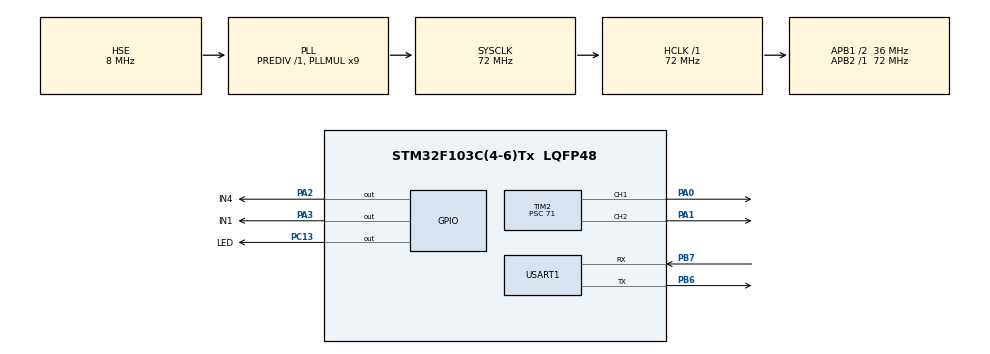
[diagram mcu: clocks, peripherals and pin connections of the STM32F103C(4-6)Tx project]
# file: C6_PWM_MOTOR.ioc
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Mcu.Family=STM32F1
Mcu.Name=STM32F103C(4-6)Tx
Mcu.Package=LQFP48
NVIC.PriorityGroup=NVIC_PRIORITYGROUP_4
PA0-WKUP.Signal=S_TIM2_CH1_ETR
PA1.Signal=S_TIM2_CH2
PA13.Mode=Serial_Wire
PA13.Signal=SYS_JTMS-SWDIO
PA14.Mode=Serial_Wire
PA14.Signal=SYS_JTCK-SWCLK
PA2.GPIO_Label=IN4
PA2.Signal=GPIO_Output
PA3.GPIO_Label=IN1
PA3.Signal=GPIO_Output
PB6.Mode=Asynchronous
PB6.Signal=USART1_TX
PB7.Mode=Asynchronous
PB7.Signal=USART1_RX
PC13-TAMPER-RTC.GPIO_Label=LED
PC13-TAMPER-RTC.Signal=GPIO_Output
PD0-OSC_IN.Mode=HSE-External-Oscillator
PD0-OSC_IN.Signal=RCC_OSC_IN
PD1-OSC_OUT.Mode=HSE-External-Oscillator
PD1-OSC_OUT.Signal=RCC_OSC_OUT
ProjectManager.HeapSize=0x200
ProjectManager.StackSize=0x400
ProjectManager.TargetToolchain=STM32CubeIDE
RCC.AHBFreq_Value=72000000
RCC.APB1CLKDivider=RCC_HCLK_DIV2
RCC.APB1Freq_Value=36000000
RCC.APB1TimFreq_Value=72000000
RCC.APB2Freq_Value=72000000
RCC.APB2TimFreq_Value=72000000
RCC.HCLKFreq_Value=72000000
RCC.PLLMUL=RCC_PLL_MUL9
RCC.PLLSourceVirtual=RCC_PLLSOURCE_HSE
RCC.SYSCLKFreq_VALUE=72000000
RCC.SYSCLKSource=RCC_SYSCLKSOURCE_PLLCLK
RCC.USBFreq_Value=72000000
SH.S_TIM2_CH1_ETR.0=TIM2_CH1,PWM Generation1 CH1
SH.S_TIM2_CH2.0=TIM2_CH2,PWM Generation2 CH2
TIM2.Channel-PWM\ Generation1\ CH1=TIM_CHANNEL_1
TIM2.Channel-PWM\ Generation2\ CH2=TIM_CHANNEL_2
TIM2.Period=999
TIM2.Prescaler=71
USART1.VirtualMode=VM_ASYNC
VP_TIM2_VS_ClockSourceINT.Mode=Internal
board=custom

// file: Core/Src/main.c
/* USER CODE BEGIN Header */
/**
 ******************************************************************************
 * @file           : main.c
 * @brief          : Main program body
 ******************************************************************************
 * @attention
 *
 * <h2><center>&copy; Copyright (c) 2023 STMicroelectronics.
 * All rights reserved.</center></h2>
 *
 * This software component is licensed by ST under BSD 3-Clause license,
 * the "License"; You may not use this file except in compliance with the
 * License. You may obtain a copy of the License at:
 *                        opensource.org/licenses/BSD-3-Clause
 *
 ******************************************************************************
 */
/* USER CODE END Header */
#include "main.h"

TIM_HandleTypeDef htim2;

UART_HandleTypeDef huart1;

void SystemClock_Config(void);
static void MX_GPIO_Init(void);
static void MX_USART1_UART_Init(void);
static void MX_TIM2_Init(void);

/* USER CODE BEGIN 0 */
void PWM_SET_DUTY(TIM_HandleTypeDef *htim, uint32_t Channel, uint8_t duty) {
	uint16_t ccr = duty * htim->Instance->ARR / 100; 		// 0 -> 100
	switch (Channel) {
	case TIM_CHANNEL_1:
		htim->Instance->CCR1 = ccr;
		break;
	case TIM_CHANNEL_2:
		htim->Instance->CCR2 = ccr;
		break;
	case TIM_CHANNEL_3:
		htim->Instance->CCR3 = ccr;
		break;
	case TIM_CHANNEL_4:
		htim->Instance->CCR4 = ccr;
		break;
	}
}
typedef enum {
	MOTOR_RIGHT, MOTOR_LEFT
} Motor_t;
typedef enum {
	MOTOR_CW,				// CLOCKWISE
	MOTOR_CCW				// COUNTER CLOCKWISE
} MotorDirtection_t;
void MOTOR_CONTROLL(Motor_t motor, MotorDirtection_t dir, uint8_t speed) {
	switch (motor) {
	case MOTOR_LEFT:
		switch (dir) {
		case MOTOR_CW:
			HAL_GPIO_WritePin(IN1_GPIO_Port, IN1_Pin, 0);
			PWM_SET_DUTY(&htim2, TIM_CHANNEL_2, speed);
			break;
		case MOTOR_CCW:
			HAL_GPIO_WritePin(IN1_GPIO_Port, IN1_Pin, 1);
			PWM_SET_DUTY(&htim2, TIM_CHANNEL_2, 100 - speed);
			break;
		}
		break;
	case MOTOR_RIGHT:
		switch (dir) {
		case MOTOR_CW:
			HAL_GPIO_WritePin(IN4_GPIO_Port, IN4_Pin, 0);
			PWM_SET_DUTY(&htim2, TIM_CHANNEL_1, speed);
			break;
		case MOTOR_CCW:
			HAL_GPIO_WritePin(IN4_GPIO_Port, IN4_Pin, 1);
			PWM_SET_DUTY(&htim2, TIM_CHANNEL_1, 100 - speed);
			break;
		}
		break;
	}
}
/* USER CODE END 0 */

int main(void)
{

  /* MCU Configuration--------------------------------------------------------*/

  /* Reset of all peripherals, Initializes the Flash interface and the Systick. */
  HAL_Init();

  /* Configure the system clock */
  SystemClock_Config();

  /* Initialize all configured peripherals */
  MX_GPIO_Init();
  MX_USART1_UART_Init();
  MX_TIM2_Init();
  /* USER CODE BEGIN 2 */
	HAL_TIM_PWM_Start(&htim2, TIM_CHANNEL_1);
	HAL_TIM_PWM_Start(&htim2, TIM_CHANNEL_2);
  /* USER CODE END 2 */

  /* Infinite loop */
  /* USER CODE BEGIN WHILE */
	while (1) {
		HAL_GPIO_WritePin(LED_GPIO_Port, LED_Pin, 0);
		MOTOR_CONTROLL(MOTOR_RIGHT, MOTOR_CCW, 100);
//		HAL_GPIO_WritePin(A4_GPIO_Port, A4_Pin, 1);
//		PWM_SET_DUTY(&htim2, TIM_CHANNEL_2, 100);
//		HAL_GPIO_WritePin(A2_GPIO_Port, A2_Pin, 1);
//		PWM_SET_DUTY(&htim2, TIM_CHANNEL_1, 0);
    /* USER CODE END WHILE */

	}
}

void SystemClock_Config(void)
{
  RCC_OscInitTypeDef RCC_OscInitStruct = {0};
  RCC_ClkInitTypeDef RCC_ClkInitStruct = {0};

  /** Initializes the RCC Oscillators according to the specified parameters
  * in the RCC_OscInitTypeDef structure.
  */
  RCC_OscInitStruct.OscillatorType = RCC_OSCILLATORTYPE_HSE;
  RCC_OscInitStruct.HSEState = RCC_HSE_ON;
  RCC_OscInitStruct.HSEPredivValue = RCC_HSE_PREDIV_DIV1;
  RCC_OscInitStruct.HSIState = RCC_HSI_ON;
  RCC_OscInitStruct.PLL.PLLState = RCC_PLL_ON;
  RCC_OscInitStruct.PLL.PLLSource = RCC_PLLSOURCE_HSE;
  RCC_OscInitStruct.PLL.PLLMUL = RCC_PLL_MUL9;
  if (HAL_RCC_OscConfig(&RCC_OscInitStruct) != HAL_OK)
  {
    Error_Handler();
  }
  /** Initializes the CPU, AHB and APB buses clocks
  */
  RCC_ClkInitStruct.ClockType = RCC_CLOCKTYPE_HCLK|RCC_CLOCKTYPE_SYSCLK
                              |RCC_CLOCKTYPE_PCLK1|RCC_CLOCKTYPE_PCLK2;
  RCC_ClkInitStruct.SYSCLKSource = RCC_SYSCLKSOURCE_PLLCLK;
  RCC_ClkInitStruct.AHBCLKDivider = RCC_SYSCLK_DIV1;
  RCC_ClkInitStruct.APB1CLKDivider = RCC_HCLK_DIV2;
  RCC_ClkInitStruct.APB2CLKDivider = RCC_HCLK_DIV1;

  if (HAL_RCC_ClockConfig(&RCC_ClkInitStruct, FLASH_LATENCY_2) != HAL_OK)
  {
    Error_Handler();
  }
}

static void MX_TIM2_Init(void)
{

  TIM_ClockConfigTypeDef sClockSourceConfig = {0};
  TIM_MasterConfigTypeDef sMasterConfig = {0};
  TIM_OC_InitTypeDef sConfigOC = {0};

  htim2.Instance = TIM2;
  htim2.Init.Prescaler = 71;
  htim2.Init.CounterMode = TIM_COUNTERMODE_UP;
  htim2.Init.Period = 999;
  htim2.Init.ClockDivision = TIM_CLOCKDIVISION_DIV1;
  htim2.Init.AutoReloadPreload = TIM_AUTORELOAD_PRELOAD_DISABLE;
  if (HAL_TIM_Base_Init(&htim2) != HAL_OK)
  {
    Error_Handler();
  }
  sClockSourceConfig.ClockSource = TIM_CLOCKSOURCE_INTERNAL;
  if (HAL_TIM_ConfigClockSource(&htim2, &sClockSourceConfig) != HAL_OK)
  {
    Error_Handler();
  }
  if (HAL_TIM_PWM_Init(&htim2) != HAL_OK)
  {
    Error_Handler();
  }
  sMasterConfig.MasterOutputTrigger = TIM_TRGO_RESET;
  sMasterConfig.MasterSlaveMode = TIM_MASTERSLAVEMODE_DISABLE;
  if (HAL_TIMEx_MasterConfigSynchronization(&htim2, &sMasterConfig) != HAL_OK)
  {
    Error_Handler();
  }
  sConfigOC.OCMode = TIM_OCMODE_PWM1;
  sConfigOC.Pulse = 0;
  sConfigOC.OCPolarity = TIM_OCPOLARITY_HIGH;
  sConfigOC.OCFastMode = TIM_OCFAST_DISABLE;
  if (HAL_TIM_PWM_ConfigChannel(&htim2, &sConfigOC, TIM_CHANNEL_1) != HAL_OK)
  {
    Error_Handler();
  }
  if (HAL_TIM_PWM_ConfigChannel(&htim2, &sConfigOC, TIM_CHANNEL_2) != HAL_OK)
  {
    Error_Handler();
  }
  HAL_TIM_MspPostInit(&htim2);

}

static void MX_USART1_UART_Init(void)
{

  huart1.Instance = USART1;
  huart1.Init.BaudRate = 115200;
  huart1.Init.WordLength = UART_WORDLENGTH_8B;
  huart1.Init.StopBits = UART_STOPBITS_1;
  huart1.Init.Parity = UART_PARITY_NONE;
  huart1.Init.Mode = UART_MODE_TX_RX;
  huart1.Init.HwFlowCtl = UART_HWCONTROL_NONE;
  huart1.Init.OverSampling = UART_OVERSAMPLING_16;
  if (HAL_UART_Init(&huart1) != HAL_OK)
  {
    Error_Handler();
  }

}

static void MX_GPIO_Init(void)
{
  GPIO_InitTypeDef GPIO_InitStruct = {0};

  /* GPIO Ports Clock Enable */
  __HAL_RCC_GPIOC_CLK_ENABLE();
  __HAL_RCC_GPIOD_CLK_ENABLE();
  __HAL_RCC_GPIOA_CLK_ENABLE();
  __HAL_RCC_GPIOB_CLK_ENABLE();

  /*Configure GPIO pin Output Level */
  HAL_GPIO_WritePin(LED_GPIO_Port, LED_Pin, GPIO_PIN_RESET);

  /*Configure GPIO pin Output Level */
  HAL_GPIO_WritePin(GPIOA, IN4_Pin|IN1_Pin, GPIO_PIN_RESET);

  /*Configure GPIO pin : LED_Pin */
  GPIO_InitStruct.Pin = LED_Pin;
  GPIO_InitStruct.Mode = GPIO_MODE_OUTPUT_PP;
  GPIO_InitStruct.Pull = GPIO_NOPULL;
  GPIO_InitStruct.Speed = GPIO_SPEED_FREQ_LOW;
  HAL_GPIO_Init(LED_GPIO_Port, &GPIO_InitStruct);

  /*Configure GPIO pins : IN4_Pin IN1_Pin */
  GPIO_InitStruct.Pin = IN4_Pin|IN1_Pin;
  GPIO_InitStruct.Mode = GPIO_MODE_OUTPUT_PP;
  GPIO_InitStruct.Pull = GPIO_NOPULL;
  GPIO_InitStruct.Speed = GPIO_SPEED_FREQ_LOW;
  HAL_GPIO_Init(GPIOA, &GPIO_InitStruct);

}

void Error_Handler(void)
{
	__disable_irq();
	while (1) {
	}
}

/************************ (C) COPYRIGHT STMicroelectronics *****END OF FILE****/
